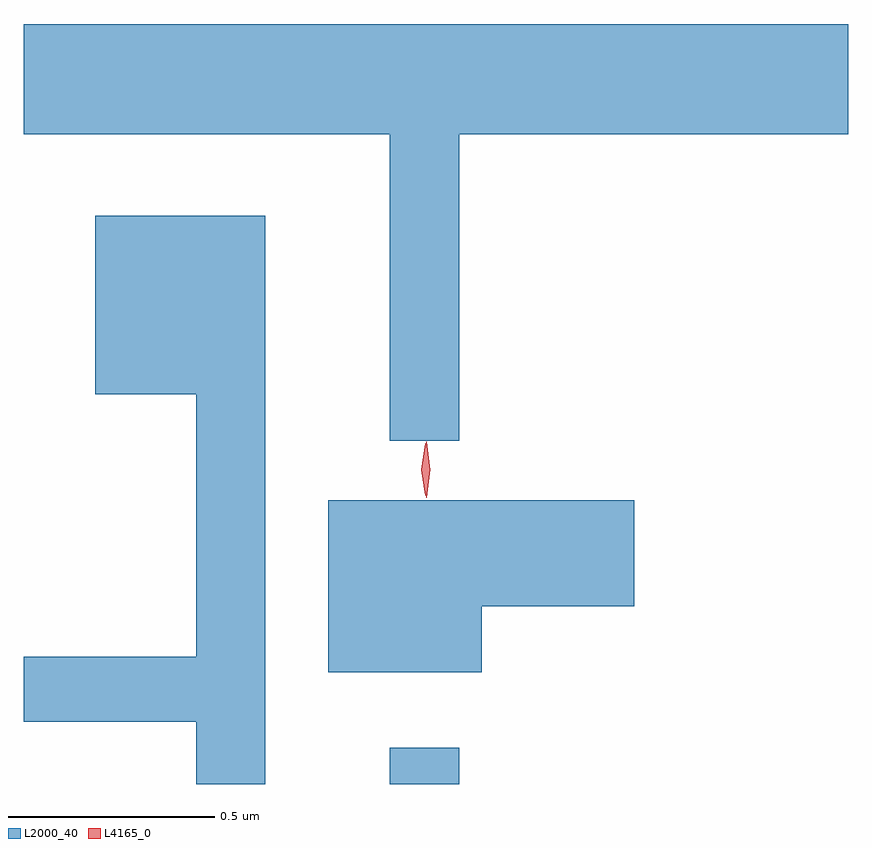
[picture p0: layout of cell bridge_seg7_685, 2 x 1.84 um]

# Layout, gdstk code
import gdstk
lib = gdstk.Library(unit=1e-6, precision=1e-09)
def R(c, l, rs):  # rectangles x0, y0, x1, y1
    for r in rs: c.add(gdstk.rectangle(r[:2], r[2:], *l))
def P(c, l, *ps):  # polygons
    for p in ps: c.add(gdstk.Polygon(p, *l))
L2000_40 = (2000, 40)
L4165_0 = (4165, 0)

bridge_seg7_685 = lib.new_cell('bridge_seg7_685')
R(bridge_seg7_685, L2000_40, [(877.571,1734.94,877.739,1735.028)])
P(bridge_seg7_685, L2000_40, [(877.739,1736.516),(878.683,1736.516),(878.683,1736.784),(876.683,1736.784),(876.683,1736.516),(877.571,1736.516),(877.571,1735.773),(877.739,1735.773)],
  [(877.269,1736.319),(876.856,1736.319),(876.856,1735.886),(877.101,1735.886),(877.101,1735.249),(876.683,1735.249),(876.683,1735.091),(877.101,1735.091),(877.101,1734.94),(877.269,1734.94)],
  [(877.794,1735.371),(878.164,1735.371),(878.164,1735.629),(877.421,1735.629),(877.421,1735.211),(877.794,1735.211)])
P(bridge_seg7_685, L4165_0, [(877.659,1735.634),(877.65,1735.702),(877.659,1735.77),(877.659,1735.77),(877.66,1735.77),(877.669,1735.702),(877.66,1735.634),(877.66,1735.634)],
  [(877.657,1735.64),(877.657,1735.64),(877.647,1735.703),(877.657,1735.766),(877.657,1735.767),(877.658,1735.766),(877.667,1735.703),(877.658,1735.64)])

lib.write_gds('bridge_seg7_685.gds')
